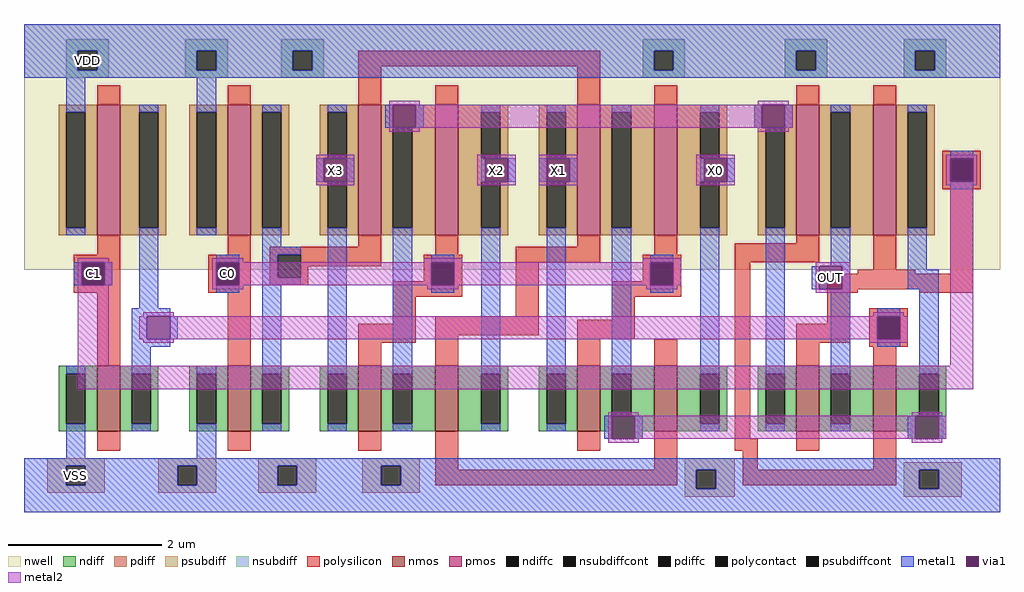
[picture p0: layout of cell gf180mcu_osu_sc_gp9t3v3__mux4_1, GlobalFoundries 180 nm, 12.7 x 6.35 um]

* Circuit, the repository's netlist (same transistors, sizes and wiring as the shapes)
** sch_path: /foss/designs/MULTIPLEXER4/Files/gf180mcu_osu_sc_gp9t3v3__mux4_1.sch
.subckt gf180mcu_osu_sc_gp9t3v3__mux4_1 VDD C1 C0 VSS X0 X1 OUT X2 X3
*.ipin X0
*.ipin X1
*.ipin X2
*.ipin X3
*.ipin C0
*.ipin C1
*.opin OUT
*.iopin VDD
*.iopin VSS
XM1 X0 net3 net1 VSS nfet_03v3 L=0.3u W=0.85u nf=1 ad='int((nf+1)/2) * W/nf * 0.18u' as='int((nf+2)/2) * W/nf * 0.18u' pd='2*int((nf+1)/2) * (W/nf + 0.18u)'
+ ps='2*int((nf+2)/2) * (W/nf + 0.18u)' nrd='0.18u / W' nrs='0.18u / W' sa=0 sb=0 sd=0 m=1
XM2 X0 C0 net1 VDD pfet_03v3 L=0.3u W=1.7u nf=1 ad='int((nf+1)/2) * W/nf * 0.18u' as='int((nf+2)/2) * W/nf * 0.18u' pd='2*int((nf+1)/2) * (W/nf + 0.18u)'
+ ps='2*int((nf+2)/2) * (W/nf + 0.18u)' nrd='0.18u / W' nrs='0.18u / W' sa=0 sb=0 sd=0 m=1
XM3 X1 C0 net1 VSS nfet_03v3 L=0.3u W=0.85u nf=1 ad='int((nf+1)/2) * W/nf * 0.18u' as='int((nf+2)/2) * W/nf * 0.18u' pd='2*int((nf+1)/2) * (W/nf + 0.18u)'
+ ps='2*int((nf+2)/2) * (W/nf + 0.18u)' nrd='0.18u / W' nrs='0.18u / W' sa=0 sb=0 sd=0 m=1
XM5 X2 net3 net2 VSS nfet_03v3 L=0.3u W=0.85u nf=1 ad='int((nf+1)/2) * W/nf * 0.18u' as='int((nf+2)/2) * W/nf * 0.18u' pd='2*int((nf+1)/2) * (W/nf + 0.18u)'
+ ps='2*int((nf+2)/2) * (W/nf + 0.18u)' nrd='0.18u / W' nrs='0.18u / W' sa=0 sb=0 sd=0 m=1
XM7 X3 C0 net2 VSS nfet_03v3 L=0.3u W=0.85u nf=1 ad='int((nf+1)/2) * W/nf * 0.18u' as='int((nf+2)/2) * W/nf * 0.18u' pd='2*int((nf+1)/2) * (W/nf + 0.18u)'
+ ps='2*int((nf+2)/2) * (W/nf + 0.18u)' nrd='0.18u / W' nrs='0.18u / W' sa=0 sb=0 sd=0 m=1
XM9 net2 C1 OUT VSS nfet_03v3 L=0.3u W=0.85u nf=1 ad='int((nf+1)/2) * W/nf * 0.18u' as='int((nf+2)/2) * W/nf * 0.18u' pd='2*int((nf+1)/2) * (W/nf + 0.18u)'
+ ps='2*int((nf+2)/2) * (W/nf + 0.18u)' nrd='0.18u / W' nrs='0.18u / W' sa=0 sb=0 sd=0 m=1
XM11 net1 net4 OUT VSS nfet_03v3 L=0.3u W=0.85u nf=1 ad='int((nf+1)/2) * W/nf * 0.18u' as='int((nf+2)/2) * W/nf * 0.18u' pd='2*int((nf+1)/2) * (W/nf + 0.18u)'
+ ps='2*int((nf+2)/2) * (W/nf + 0.18u)' nrd='0.18u / W' nrs='0.18u / W' sa=0 sb=0 sd=0 m=1
XM4 X1 net3 net1 VDD pfet_03v3 L=0.3u W=1.7u nf=1 ad='int((nf+1)/2) * W/nf * 0.18u' as='int((nf+2)/2) * W/nf * 0.18u' pd='2*int((nf+1)/2) * (W/nf + 0.18u)'
+ ps='2*int((nf+2)/2) * (W/nf + 0.18u)' nrd='0.18u / W' nrs='0.18u / W' sa=0 sb=0 sd=0 m=1
XM6 X2 C0 net2 VDD pfet_03v3 L=0.3u W=1.7u nf=1 ad='int((nf+1)/2) * W/nf * 0.18u' as='int((nf+2)/2) * W/nf * 0.18u' pd='2*int((nf+1)/2) * (W/nf + 0.18u)'
+ ps='2*int((nf+2)/2) * (W/nf + 0.18u)' nrd='0.18u / W' nrs='0.18u / W' sa=0 sb=0 sd=0 m=1
XM8 X3 net3 net2 VDD pfet_03v3 L=0.3u W=1.7u nf=1 ad='int((nf+1)/2) * W/nf * 0.18u' as='int((nf+2)/2) * W/nf * 0.18u' pd='2*int((nf+1)/2) * (W/nf + 0.18u)'
+ ps='2*int((nf+2)/2) * (W/nf + 0.18u)' nrd='0.18u / W' nrs='0.18u / W' sa=0 sb=0 sd=0 m=1
XM10 net2 net4 OUT VDD pfet_03v3 L=0.3u W=1.7u nf=1 ad='int((nf+1)/2) * W/nf * 0.18u' as='int((nf+2)/2) * W/nf * 0.18u' pd='2*int((nf+1)/2) * (W/nf + 0.18u)'
+ ps='2*int((nf+2)/2) * (W/nf + 0.18u)' nrd='0.18u / W' nrs='0.18u / W' sa=0 sb=0 sd=0 m=1
XM12 net1 C1 OUT VDD pfet_03v3 L=0.3u W=1.7u nf=1 ad='int((nf+1)/2) * W/nf * 0.18u' as='int((nf+2)/2) * W/nf * 0.18u' pd='2*int((nf+1)/2) * (W/nf + 0.18u)'
+ ps='2*int((nf+2)/2) * (W/nf + 0.18u)' nrd='0.18u / W' nrs='0.18u / W' sa=0 sb=0 sd=0 m=1
XM13 net3 C0 VSS VSS nfet_03v3 L=0.3u W=0.85u nf=1 ad='int((nf+1)/2) * W/nf * 0.18u' as='int((nf+2)/2) * W/nf * 0.18u' pd='2*int((nf+1)/2) * (W/nf + 0.18u)'
+ ps='2*int((nf+2)/2) * (W/nf + 0.18u)' nrd='0.18u / W' nrs='0.18u / W' sa=0 sb=0 sd=0 m=1
XM14 net3 C0 VDD VDD pfet_03v3 L=0.3u W=1.7u nf=1 ad='int((nf+1)/2) * W/nf * 0.18u' as='int((nf+2)/2) * W/nf * 0.18u' pd='2*int((nf+1)/2) * (W/nf + 0.18u)'
+ ps='2*int((nf+2)/2) * (W/nf + 0.18u)' nrd='0.18u / W' nrs='0.18u / W' sa=0 sb=0 sd=0 m=1
XM15 net4 C1 VSS VSS nfet_03v3 L=0.3u W=0.85u nf=1 ad='int((nf+1)/2) * W/nf * 0.18u' as='int((nf+2)/2) * W/nf * 0.18u' pd='2*int((nf+1)/2) * (W/nf + 0.18u)'
+ ps='2*int((nf+2)/2) * (W/nf + 0.18u)' nrd='0.18u / W' nrs='0.18u / W' sa=0 sb=0 sd=0 m=1
XM16 net4 C1 VDD VDD pfet_03v3 L=0.3u W=1.7u nf=1 ad='int((nf+1)/2) * W/nf * 0.18u' as='int((nf+2)/2) * W/nf * 0.18u' pd='2*int((nf+1)/2) * (W/nf + 0.18u)'
+ ps='2*int((nf+2)/2) * (W/nf + 0.18u)' nrd='0.18u / W' nrs='0.18u / W' sa=0 sb=0 sd=0 m=1

.ends gf180mcu_osu_sc_gp9t3v3__mux4_1

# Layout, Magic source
magic
tech gf180mcuC
<< nwell >>
rect -34 63 220 127
<< nmos >>
rect -15 21 -9 38
rect 19 21 25 38
rect 53 21 59 38
rect 73 21 79 38
rect 110 21 116 38
rect 130 21 136 38
rect 167 21 173 38
rect 187 21 193 38
<< pmos >>
rect -15 72 -9 106
rect 19 72 25 106
rect 53 72 59 106
rect 73 72 79 106
rect 110 72 116 106
rect 130 72 136 106
rect 167 72 173 106
rect 187 72 193 106
<< ndiff >>
rect -25 36 -15 38
rect -25 23 -23 36
rect -18 23 -15 36
rect -25 21 -15 23
rect -9 36 1 38
rect -9 23 -6 36
rect -1 23 1 36
rect -9 21 1 23
rect 9 36 19 38
rect 9 23 11 36
rect 16 23 19 36
rect 9 21 19 23
rect 25 36 35 38
rect 25 23 28 36
rect 33 23 35 36
rect 25 21 35 23
rect 43 36 53 38
rect 43 23 45 36
rect 50 23 53 36
rect 43 21 53 23
rect 59 36 73 38
rect 59 23 62 36
rect 67 23 73 36
rect 59 21 73 23
rect 79 36 92 38
rect 79 23 85 36
rect 90 23 92 36
rect 79 21 92 23
rect 100 36 110 38
rect 100 23 102 36
rect 107 23 110 36
rect 100 21 110 23
rect 116 36 130 38
rect 116 25 119 36
rect 124 25 130 36
rect 116 21 130 25
rect 136 36 149 38
rect 136 23 142 36
rect 147 23 149 36
rect 136 21 149 23
rect 118 19 127 21
rect 157 36 167 38
rect 157 23 159 36
rect 164 23 167 36
rect 157 21 167 23
rect 173 36 187 38
rect 173 23 176 36
rect 181 23 187 36
rect 173 21 187 23
rect 193 36 206 38
rect 193 25 199 36
rect 204 25 206 36
rect 193 21 206 25
rect 196 19 206 21
<< pdiff >>
rect -25 104 -15 106
rect -25 74 -23 104
rect -18 74 -15 104
rect -25 72 -15 74
rect -9 104 3 106
rect -9 74 -4 104
rect 1 74 3 104
rect -9 72 3 74
rect 9 104 19 106
rect 9 74 11 104
rect 16 74 19 104
rect 9 72 19 74
rect 25 104 35 106
rect 25 74 28 104
rect 33 74 35 104
rect 43 104 53 106
rect 43 93 45 104
rect 42 92 45 93
rect 50 92 53 104
rect 42 86 53 92
rect 42 85 45 86
rect 25 72 35 74
rect 43 74 45 85
rect 50 74 53 86
rect 43 72 53 74
rect 59 100 73 106
rect 59 74 62 100
rect 67 74 73 100
rect 59 72 73 74
rect 79 104 92 106
rect 79 92 85 104
rect 90 92 92 104
rect 79 86 92 92
rect 79 74 85 86
rect 90 74 92 86
rect 79 72 92 74
rect 100 104 110 106
rect 100 92 102 104
rect 107 92 110 104
rect 100 86 110 92
rect 100 74 102 86
rect 107 74 110 86
rect 100 72 110 74
rect 116 104 130 106
rect 116 74 119 104
rect 124 74 130 104
rect 116 72 130 74
rect 136 104 149 106
rect 136 92 142 104
rect 147 92 149 104
rect 156 100 167 106
rect 136 86 149 92
rect 136 74 142 86
rect 147 74 149 86
rect 136 72 149 74
rect 157 74 159 100
rect 164 74 167 100
rect 157 72 167 74
rect 173 104 187 106
rect 173 74 176 104
rect 181 74 187 104
rect 173 72 187 74
rect 193 104 203 106
rect 193 74 196 104
rect 201 74 203 104
rect 193 72 203 74
<< ndiffc >>
rect -23 23 -18 36
rect -6 23 -1 36
rect 11 23 16 36
rect 28 23 33 36
rect 45 23 50 36
rect 62 23 67 36
rect 85 23 90 36
rect 102 23 107 36
rect 119 25 124 36
rect 142 23 147 36
rect 159 23 164 36
rect 176 23 181 36
rect 199 25 204 36
<< pdiffc >>
rect -23 74 -18 104
rect -4 74 1 104
rect 11 74 16 104
rect 28 74 33 104
rect 45 92 50 104
rect 45 74 50 86
rect 62 74 67 100
rect 85 92 90 104
rect 85 74 90 86
rect 102 92 107 104
rect 102 74 107 86
rect 119 74 124 104
rect 142 92 147 104
rect 142 74 147 86
rect 159 74 164 100
rect 176 74 181 104
rect 196 74 201 104
<< psubdiff >>
rect -28 12 -13 14
rect -28 7 -23 12
rect -18 7 -13 12
rect -28 5 -13 7
rect 1 12 16 14
rect 1 7 6 12
rect 11 7 16 12
rect 1 5 16 7
rect 27 12 42 14
rect 27 7 32 12
rect 37 7 42 12
rect 27 5 42 7
rect 54 12 69 14
rect 54 7 59 12
rect 64 7 69 12
rect 138 11 151 14
rect 54 5 69 7
rect 138 6 141 11
rect 146 6 151 11
rect 195 11 210 13
rect 138 4 151 6
rect 195 6 199 11
rect 204 6 210 11
rect 195 4 210 6
<< nsubdiff >>
rect -23 120 -12 123
rect -23 115 -20 120
rect -15 115 -12 120
rect -23 113 -12 115
rect 8 120 19 123
rect 8 115 11 120
rect 16 115 19 120
rect 8 113 19 115
rect 33 120 44 123
rect 127 120 138 123
rect 33 115 36 120
rect 41 115 44 120
rect 33 113 44 115
rect 127 115 130 120
rect 135 115 138 120
rect 127 113 138 115
rect 164 120 175 123
rect 164 115 167 120
rect 172 115 175 120
rect 164 113 175 115
rect 195 120 206 123
rect 195 115 198 120
rect 203 115 206 120
rect 195 113 206 115
<< psubdiffcont >>
rect -23 7 -18 12
rect 6 7 11 12
rect 32 7 37 12
rect 59 7 64 12
rect 141 6 146 11
rect 199 6 204 11
<< nsubdiffcont >>
rect -20 115 -15 120
rect 11 115 16 120
rect 36 115 41 120
rect 130 115 135 120
rect 167 115 172 120
rect 198 115 203 120
<< polysilicon >>
rect 53 116 116 120
rect -15 106 -9 111
rect 19 106 25 111
rect 53 106 59 116
rect 73 106 79 111
rect 110 106 116 116
rect 130 106 136 111
rect 167 106 173 111
rect 187 106 193 111
rect 205 92 215 94
rect 205 86 207 92
rect 213 86 215 92
rect 205 84 215 86
rect -15 67 -9 72
rect 19 67 25 72
rect 53 69 59 72
rect -21 65 -9 67
rect -21 59 -19 65
rect -13 59 -9 65
rect -21 57 -9 59
rect 14 65 25 67
rect 14 59 16 65
rect 22 59 25 65
rect 30 67 59 69
rect 73 67 79 72
rect 110 69 116 72
rect 30 61 32 67
rect 38 64 59 67
rect 70 65 80 67
rect 38 61 40 64
rect 30 59 40 61
rect 70 60 72 65
rect 62 59 72 60
rect 78 59 80 65
rect 14 57 25 59
rect -15 38 -9 57
rect 19 38 25 57
rect 62 56 80 59
rect 94 65 116 69
rect 130 67 136 72
rect 167 70 173 72
rect 127 65 137 67
rect 62 49 68 56
rect 94 51 100 65
rect 127 60 129 65
rect 53 44 68 49
rect 73 46 100 51
rect 119 59 129 60
rect 135 59 137 65
rect 119 56 137 59
rect 151 65 173 70
rect 119 50 125 56
rect 53 38 59 44
rect 73 38 79 46
rect 110 45 125 50
rect 110 38 116 45
rect 130 38 136 45
rect -15 16 -9 21
rect 19 16 25 21
rect 53 16 59 21
rect 73 11 79 21
rect 110 16 116 21
rect 130 11 136 21
rect 151 19 155 65
rect 187 63 193 72
rect 183 62 198 63
rect 207 62 213 84
rect 178 61 213 62
rect 176 60 213 61
rect 175 58 213 60
rect 175 57 183 58
rect 199 57 213 58
rect 175 49 181 57
rect 167 44 181 49
rect 186 51 196 53
rect 186 45 188 51
rect 194 45 196 51
rect 167 38 173 44
rect 186 43 196 45
rect 187 38 193 43
rect 151 16 157 19
rect 167 16 173 21
rect 73 7 136 11
rect 153 11 157 16
rect 187 11 193 21
rect 153 7 193 11
<< polycontact >>
rect 207 86 213 92
rect -19 59 -13 65
rect 16 59 22 65
rect 32 61 38 67
rect 72 59 78 65
rect 129 59 135 65
rect 188 45 194 51
<< metal1 >>
rect -34 120 220 127
rect -34 115 -20 120
rect -15 115 11 120
rect 16 115 36 120
rect 41 115 130 120
rect 135 115 167 120
rect 172 115 198 120
rect 203 115 220 120
rect -34 113 220 115
rect -23 104 -18 113
rect -23 72 -18 74
rect -4 104 1 106
rect -21 59 -19 65
rect -13 59 -11 65
rect -4 53 1 74
rect 11 104 16 113
rect 11 72 16 74
rect 28 104 33 106
rect 45 104 50 106
rect 60 100 62 106
rect 68 100 70 106
rect 85 104 90 106
rect 42 86 44 92
rect 50 86 52 92
rect 28 69 33 74
rect 28 67 38 69
rect 16 65 22 67
rect 16 57 22 59
rect 28 61 32 67
rect 28 59 38 61
rect -6 51 4 53
rect -6 45 -2 51
rect 4 45 6 51
rect -6 43 4 45
rect -23 36 -18 38
rect -23 14 -18 23
rect -6 36 -1 43
rect -6 21 -1 23
rect 11 36 16 38
rect 11 14 16 23
rect 28 36 33 59
rect 28 21 33 23
rect 45 36 50 74
rect 45 21 50 23
rect 62 36 67 74
rect 102 104 107 106
rect 119 104 124 106
rect 85 86 86 92
rect 92 86 94 92
rect 100 86 102 92
rect 108 86 110 92
rect 72 65 78 67
rect 72 57 78 59
rect 62 21 67 23
rect 85 36 90 74
rect 85 21 90 23
rect 102 36 107 74
rect 119 36 124 74
rect 142 104 147 106
rect 156 100 158 106
rect 164 100 166 106
rect 176 104 181 106
rect 142 86 143 92
rect 149 86 151 92
rect 129 65 135 67
rect 129 57 135 59
rect 142 36 147 74
rect 102 21 107 23
rect 117 19 119 25
rect 125 19 127 25
rect 142 21 147 23
rect 159 36 164 74
rect 176 64 181 74
rect 171 58 173 64
rect 179 58 181 64
rect 196 104 201 106
rect 207 92 213 94
rect 207 84 213 86
rect 196 63 201 74
rect 196 58 204 63
rect 159 21 164 23
rect 176 36 181 58
rect 188 51 194 53
rect 188 43 194 45
rect 199 36 204 58
rect 176 21 181 23
rect 196 19 198 25
rect 204 19 206 25
rect -34 12 220 14
rect -34 7 -23 12
rect -18 7 6 12
rect 11 7 32 12
rect 37 7 59 12
rect 64 11 220 12
rect 64 7 141 11
rect -34 6 141 7
rect 146 6 199 11
rect 204 6 220 11
rect -34 0 220 6
<< via1 >>
rect -19 59 -13 65
rect 62 100 68 106
rect 44 86 50 92
rect 16 59 22 65
rect -2 45 4 51
rect 86 86 92 92
rect 102 86 108 92
rect 72 59 78 65
rect 158 100 164 106
rect 143 86 149 92
rect 129 59 135 65
rect 119 19 125 25
rect 173 58 179 64
rect 207 86 213 92
rect 188 45 194 51
rect 198 19 204 25
<< metal2 >>
rect 61 106 69 107
rect 157 106 165 107
rect 61 100 62 106
rect 68 100 158 106
rect 164 100 166 106
rect 61 99 69 100
rect 157 99 165 100
rect 42 92 52 93
rect 42 86 44 92
rect 50 86 52 92
rect 42 85 52 86
rect 84 92 94 93
rect 84 86 86 92
rect 92 86 94 92
rect 84 85 94 86
rect 100 92 110 93
rect 100 86 102 92
rect 108 86 110 92
rect 100 85 110 86
rect 141 92 151 93
rect 141 86 143 92
rect 149 86 151 92
rect 141 85 151 86
rect 206 92 214 93
rect 206 86 207 92
rect 213 86 214 92
rect 206 85 214 86
rect -20 65 -12 66
rect 15 65 23 66
rect 70 65 80 66
rect 127 65 137 66
rect -20 59 -19 65
rect -13 59 -11 65
rect 15 59 16 65
rect 22 59 72 65
rect 78 59 129 65
rect 135 59 137 65
rect 172 64 181 65
rect -20 38 -12 59
rect 15 58 23 59
rect 71 58 79 59
rect 128 58 136 59
rect 172 58 173 64
rect 179 58 181 64
rect 172 57 181 58
rect -3 51 5 52
rect 187 51 195 52
rect -4 45 -2 51
rect 4 45 188 51
rect 194 45 196 51
rect -3 44 5 45
rect 186 44 196 45
rect 207 38 213 85
rect -20 32 213 38
rect 118 25 126 26
rect 197 25 205 26
rect 118 19 119 25
rect 125 19 198 25
rect 204 19 206 25
rect 118 18 126 19
rect 197 18 205 19
<< labels >>
rlabel metal2 -19 59 -13 65 7 C1
port 2 w default input
rlabel metal2 16 59 22 65 7 C0
port 3 w default input
rlabel metal2 173 58 179 64 3 OUT
port 7 e default output
rlabel metal1 -20 115 -15 120 1 VDD
port 1 n default bidirectional
rlabel metal1 -23 7 -18 12 5 VSS
port 4 s default bidirectional
rlabel metal2 143 86 149 92 1 X0
port 5 n
rlabel metal2 102 86 108 92 1 X1
port 6 n
rlabel metal2 86 86 92 92 1 X2
port 9 n
rlabel metal2 44 86 50 92 1 X3
port 8 n
<< end >>
